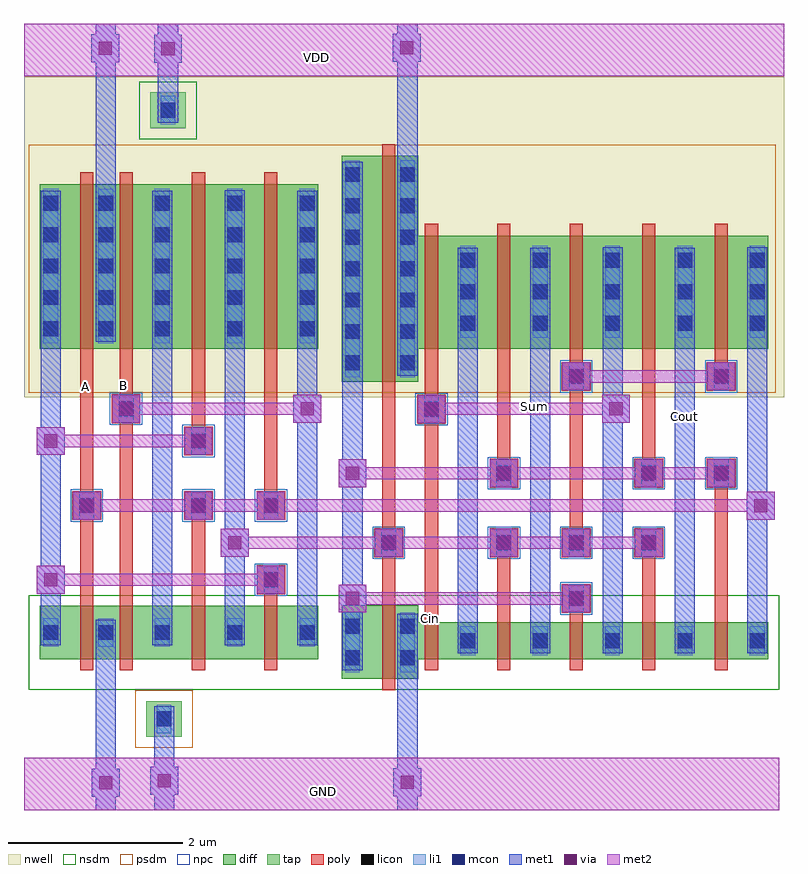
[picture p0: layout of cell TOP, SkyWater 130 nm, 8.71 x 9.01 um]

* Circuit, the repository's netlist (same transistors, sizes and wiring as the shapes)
** sch_path: /home/dat02/projects/cmos-full-adder-sky130/transmission_gate/schematic/fulladder.sch
.subckt fulladder A Sum B Cin VDD Cout GND
*.PININFO Cout:O A:I B:I Cin:I Sum:O VDD:I GND:I
XM1 Cout net4 A VDD sky130_fd_pr__pfet_01v8 L=0.15 W=1.295 nf=1
XM2 Cout net1 A GND sky130_fd_pr__nfet_01v8 L=0.15 W=0.42 nf=1
XM3 Cout net1 Cin VDD sky130_fd_pr__pfet_01v8 L=0.15 W=1.295 nf=1
XM4 Cout net4 Cin GND sky130_fd_pr__nfet_01v8 L=0.15 W=0.42 nf=1
XM7 net2 A VDD VDD sky130_fd_pr__pfet_01v8 L=0.15 W=1.885 nf=1
XM8 net2 A GND GND sky130_fd_pr__nfet_01v8 L=0.15 W=0.61 nf=1
XM9 net3 B VDD VDD sky130_fd_pr__pfet_01v8 L=0.15 W=1.885 nf=1
XM10 net3 B GND GND sky130_fd_pr__nfet_01v8 L=0.15 W=0.61 nf=1
XM11 net4 A B VDD sky130_fd_pr__pfet_01v8 L=0.15 W=1.885 nf=1
XM12 net4 net2 B GND sky130_fd_pr__nfet_01v8 L=0.15 W=0.61 nf=1
XM13 net4 net2 net3 VDD sky130_fd_pr__pfet_01v8 L=0.15 W=1.885 nf=1
XM14 net4 A net3 GND sky130_fd_pr__nfet_01v8 L=0.15 W=0.61 nf=1
XM15 net1 net4 VDD VDD sky130_fd_pr__pfet_01v8 L=0.15 W=2.59 nf=1
XM16 net1 net4 GND GND sky130_fd_pr__nfet_01v8 L=0.15 W=0.84 nf=1
XM17 net5 Cin VDD VDD sky130_fd_pr__pfet_01v8 L=0.15 W=1.295 nf=1
XM18 net5 Cin GND GND sky130_fd_pr__nfet_01v8 L=0.15 W=0.42 nf=1
XM19 Sum net4 Cin VDD sky130_fd_pr__pfet_01v8 L=0.15 W=1.295 nf=1
XM20 Sum net1 Cin GND sky130_fd_pr__nfet_01v8 L=0.15 W=0.42 nf=1
XM21 Sum net1 net5 VDD sky130_fd_pr__pfet_01v8 L=0.15 W=1.295 nf=1
XM22 Sum net4 net5 GND sky130_fd_pr__nfet_01v8 L=0.15 W=0.42 nf=1
.ends
.GLOBAL GND
.GLOBAL VDD

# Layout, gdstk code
import gdstk
lib = gdstk.Library(unit=1e-6, precision=5e-09)
def R(c, l, rs):  # rectangles x0, y0, x1, y1
    for r in rs: c.add(gdstk.rectangle(r[:2], r[2:], *l))
def A(c, l, x, y, w, h, nx, ny, dx, dy):  # array of equal rectangles
    R(c, l, [(x+i*dx, y+j*dy, x+i*dx+w, y+j*dy+h) for i in range(nx) for j in range(ny)])
nwell = (64, 20)
diff = (65, 20)
tap = (65, 44)
poly = (66, 20)
licon = (66, 44)
li1 = (67, 20)
mcon = (67, 44)
met1 = (68, 20)
via = (68, 44)
met2 = (69, 20)
nsdm = (93, 44)
psdm = (94, 20)
npc = (95, 20)

contact = lib.new_cell('Contact')
R(contact, met1, [(-0.16,-0.16,0.16,0.16)])
R(contact, via, [(-0.075,-0.075,0.075,0.075)])
R(contact, met2, [(-0.16,-0.16,0.16,0.16)])

contact_1 = lib.new_cell('Contact$1')
R(contact_1, poly, [(-0.165,-0.165,0.165,0.165)])
R(contact_1, licon, [(-0.085,-0.085,0.085,0.085)])
R(contact_1, li1, [(-0.085,-0.165,0.085,0.165)])
R(contact_1, npc, [(-0.185,-0.185,0.185,0.185)])

contact_2 = lib.new_cell('Contact$2')
R(contact_2, li1, [(-0.085,-0.085,0.085,0.085)])
R(contact_2, mcon, [(-0.085,-0.085,0.085,0.085)])
R(contact_2, met1, [(-0.145,-0.145,0.145,0.145)])

contact_4 = lib.new_cell('Contact$4')
R(contact_4, tap, [(-0.205,-0.205,0.205,0.205)])
R(contact_4, licon, [(-0.085,-0.085,0.085,0.085)])
R(contact_4, li1, [(-0.085,-0.165,0.085,0.165)])
R(contact_4, psdm, [(-0.33,-0.33,0.33,0.33)])

contact_3 = lib.new_cell('Contact$3')
R(contact_3, nwell, [(-0.385,-0.385,0.385,0.385)])
R(contact_3, tap, [(-0.205,-0.205,0.205,0.205)])
R(contact_3, licon, [(-0.085,-0.085,0.085,0.085)])
R(contact_3, li1, [(-0.085,-0.165,0.085,0.165)])
R(contact_3, nsdm, [(-0.33,-0.33,0.33,0.33)])

top = lib.new_cell('TOP')
R(top, nwell, [(-1.225,-1.25,7.485,2.425)])
R(top, diff, [(2.415,-4.475,3.295,-3.635), (-1.045,-4.25,2.145,-3.64), (2.83,-4.25,7.305,-3.83), (2.415,-1.07,3.295,1.52), (-1.045,-0.69,2.145,1.195), (3.225,-0.69,7.305,0.605)])
R(top, poly, [(2.88,-4.605,3.03,1.65), (-0.58,-4.38,-0.43,1.33), (-0.13,-4.38,0.02,1.33), (0.7,-4.38,0.85,-2.42), (1.53,-4.38,1.68,-3.27), (3.37,-4.38,3.52,0.74), (4.2,-4.38,4.35,-2.845), (5.03,-4.38,5.18,-3.51), (5.86,-4.38,6.01,-2.845), (6.69,-4.38,6.84,-2.05), (5.03,-2.985,5.18,0.74), (1.53,-2.56,1.68,1.33), (4.2,-2.19,4.35,0.74), (5.86,-2.19,6.01,0.74), (0.7,-1.82,0.85,1.33), (6.69,-1.08,6.84,0.74)])
A(top, licon, 0.275, -4.03, 0.17, 0.17, 3, 2, 0.83, 3.48)
A(top, licon, 2.455, -0.94, 0.17, 0.17, 1, 7, 0, 0.36)
A(top, licon, 3.085, -0.94, 0.17, 0.17, 1, 7, 0, 0.36)
A(top, licon, -1.005, -0.55, 0.17, 0.17, 1, 5, 0, 0.36)
A(top, licon, -0.375, -0.55, 0.17, 0.17, 1, 5, 0, 0.36)
A(top, licon, 0.275, -0.19, 0.17, 0.17, 3, 4, 0.83, 0.36)
R(top, licon, [(2.455,-4.32,2.625,-4.15), (3.085,-4.32,3.255,-4.15), (3.775,-4.125,3.945,-3.955), (3.775,-4.125,3.945,-3.955), (4.605,-4.125,4.775,-3.955), (4.605,-4.125,4.775,-3.955), (5.435,-4.125,5.605,-3.955), (5.435,-4.125,5.605,-3.955), (6.265,-4.125,6.435,-3.955), (6.265,-4.125,6.435,-3.955), (7.095,-4.125,7.265,-3.955), (7.095,-4.125,7.265,-3.955), (-1.005,-4.03,-0.835,-3.86), (-0.375,-4.03,-0.205,-3.86), (2.455,-3.96,2.625,-3.79), (3.085,-3.96,3.255,-3.79), (3.775,-0.485,3.945,-0.315), (3.775,-0.485,3.945,-0.315), (4.605,-0.485,4.775,-0.315), (4.605,-0.485,4.775,-0.315), (5.435,-0.485,5.605,-0.315), (5.435,-0.485,5.605,-0.315), (6.265,-0.485,6.435,-0.315), (6.265,-0.485,6.435,-0.315), (7.095,-0.485,7.265,-0.315), (7.095,-0.485,7.265,-0.315), (3.775,-0.125,3.945,0.045), (3.775,-0.125,3.945,0.045), (4.605,-0.125,4.775,0.045), (4.605,-0.125,4.775,0.045), (5.435,-0.125,5.605,0.045), (5.435,-0.125,5.605,0.045), (6.265,-0.125,6.435,0.045), (6.265,-0.125,6.435,0.045), (7.095,-0.125,7.265,0.045), (7.095,-0.125,7.265,0.045), (3.775,0.235,3.945,0.405), (3.775,0.235,3.945,0.405), (4.605,0.235,4.775,0.405), (4.605,0.235,4.775,0.405), (5.435,0.235,5.605,0.405), (5.435,0.235,5.605,0.405), (6.265,0.235,6.435,0.405), (6.265,0.235,6.435,0.405), (7.095,0.235,7.265,0.405), (7.095,0.235,7.265,0.405)])
A(top, li1, 0.275, -4.11, 0.17, 0.33, 3, 1, 0.83, 0)
A(top, li1, 0.275, -0.63, 0.17, 1.77, 3, 1, 0.83, 0)
R(top, li1, [(2.455,-4.4,2.625,-3.71), (3.085,-4.4,3.255,-3.71), (3.775,-4.205,3.945,-3.875), (4.605,-4.205,4.775,-3.875), (4.605,-4.205,4.775,-3.875), (5.435,-4.205,5.605,-3.875), (5.435,-4.205,5.605,-3.875), (6.265,-4.205,6.435,-3.875), (6.265,-4.205,6.435,-3.875), (7.095,-4.205,7.265,-3.875), (7.095,-4.205,7.265,-3.875), (-1.005,-4.11,-0.835,-3.78), (-0.375,-4.11,-0.205,-3.78), (2.455,-1.02,2.625,1.47), (3.085,-1.02,3.255,1.47), (-1.005,-0.63,-0.835,1.14), (-0.375,-0.63,-0.205,1.14), (3.775,-0.565,3.945,0.485), (3.775,-0.565,3.945,0.485), (4.605,-0.565,4.775,0.485), (4.605,-0.565,4.775,0.485), (5.435,-0.565,5.605,0.485), (5.435,-0.565,5.605,0.485), (6.265,-0.565,6.435,0.485), (6.265,-0.565,6.435,0.485), (7.095,-0.565,7.265,0.485), (7.095,-0.565,7.265,0.485)])
A(top, mcon, 0.275, -4.03, 0.17, 0.17, 3, 2, 0.83, 3.48)
A(top, mcon, 2.455, -0.94, 0.17, 0.17, 1, 7, 0, 0.36)
A(top, mcon, 3.085, -0.94, 0.17, 0.17, 1, 7, 0, 0.36)
A(top, mcon, -1.005, -0.55, 0.17, 0.17, 1, 5, 0, 0.36)
A(top, mcon, -0.375, -0.55, 0.17, 0.17, 1, 5, 0, 0.36)
A(top, mcon, 0.275, -0.19, 0.17, 0.17, 3, 4, 0.83, 0.36)
R(top, mcon, [(0.295,-5.02,0.465,-4.85), (2.455,-4.32,2.625,-4.15), (3.085,-4.32,3.255,-4.15), (3.775,-4.125,3.945,-3.955), (3.775,-4.125,3.945,-3.955), (4.605,-4.125,4.775,-3.955), (4.605,-4.125,4.775,-3.955), (5.435,-4.125,5.605,-3.955), (5.435,-4.125,5.605,-3.955), (6.265,-4.125,6.435,-3.955), (6.265,-4.125,6.435,-3.955), (7.095,-4.125,7.265,-3.955), (7.095,-4.125,7.265,-3.955), (-1.005,-4.03,-0.835,-3.86), (-0.375,-4.03,-0.205,-3.86), (2.455,-3.96,2.625,-3.79), (3.085,-3.96,3.255,-3.79), (3.775,-0.485,3.945,-0.315), (3.775,-0.485,3.945,-0.315), (4.605,-0.485,4.775,-0.315), (4.605,-0.485,4.775,-0.315), (5.435,-0.485,5.605,-0.315), (5.435,-0.485,5.605,-0.315), (6.265,-0.485,6.435,-0.315), (6.265,-0.485,6.435,-0.315), (7.095,-0.485,7.265,-0.315), (7.095,-0.485,7.265,-0.315), (3.775,-0.125,3.945,0.045), (3.775,-0.125,3.945,0.045), (4.605,-0.125,4.775,0.045), (4.605,-0.125,4.775,0.045), (5.435,-0.125,5.605,0.045), (5.435,-0.125,5.605,0.045), (6.265,-0.125,6.435,0.045), (6.265,-0.125,6.435,0.045), (7.095,-0.125,7.265,0.045), (7.095,-0.125,7.265,0.045), (3.775,0.235,3.945,0.405), (3.775,0.235,3.945,0.405), (4.605,0.235,4.775,0.405), (4.605,0.235,4.775,0.405), (5.435,0.235,5.605,0.405), (5.435,0.235,5.605,0.405), (6.265,0.235,6.435,0.405), (6.265,0.235,6.435,0.405), (7.095,0.235,7.265,0.405), (7.095,0.235,7.265,0.405), (0.34,1.955,0.51,2.125)])
A(top, met1, 4.575, -0.545, 0.23, 1.01, 4, 1, 0.83, 0)
R(top, met1, [(-0.405,-5.98,-0.175,-3.8), (0.265,-5.98,0.495,-4.79), (3.055,-5.98,3.285,-3.73), (2.425,-4.38,2.655,-3.87), (3.745,-4.185,3.975,-3.895), (4.575,-4.185,4.805,-0.42), (5.405,-4.185,5.635,-3.895), (6.235,-4.185,6.465,-3.895), (6.235,-4.185,6.465,-3.895), (7.065,-4.185,7.295,-3.895), (7.065,-4.185,7.295,-3.895), (-1.035,-4.09,-0.805,-1.935), (0.245,-4.09,0.475,-3.8), (1.075,-4.09,1.305,-1.055), (1.905,-4.09,2.135,-1.38), (2.425,-4.055,2.655,1.45), (3.745,-4.02,3.975,-0.38), (5.405,-4.02,5.635,-1.7), (6.235,-3.95,6.465,0.465), (7.065,-3.945,7.295,0.47), (0.245,-3.81,0.475,1.12), (5.405,-2.34,5.635,0.47), (-1.035,-2.075,-0.805,-0.49), (1.905,-1.45,2.135,-0.35), (1.075,-1.08,1.305,1.125), (3.055,-1,3.285,3.03), (-1.035,-0.61,-0.805,1.12), (-0.405,-0.61,-0.175,3.03), (1.905,-0.61,2.135,1.12), (3.745,-0.545,3.975,0.465), (3.745,-0.545,3.975,0.465), (4.575,-0.545,4.805,0.465), (0.31,1.895,0.54,3.03)])
R(top, met2, [(-1.225,-5.98,7.43,-5.38), (2.425,-3.625,5.14,-3.485), (-1.035,-3.41,1.68,-3.27), (1.075,-2.985,6.01,-2.845), (-0.58,-2.56,7.255,-2.42), (2.425,-2.19,6.8,-2.05), (-1.035,-1.82,0.85,-1.68), (-0.13,-1.45,2.145,-1.31), (3.37,-1.45,5.635,-1.31), (5.03,-1.08,6.84,-0.94), (-1.225,2.43,7.485,3.03)])
R(top, nsdm, [(-1.17,-4.6,7.43,-3.515)])
R(top, psdm, [(-1.17,-1.195,7.39,1.645)])
top.add(gdstk.Reference(contact, (-0.92,-1.75)))
top.add(gdstk.Reference(contact, (-0.055,-1.38)))
top.add(gdstk.Reference(contact_1, (-0.055,-1.38)))
top.add(gdstk.Reference(contact_2, (-0.055,-1.38)))
top.add(gdstk.Reference(contact, (2.02,-1.38)))
top.add(gdstk.Reference(contact_2, (0.775,-1.75)))
top.add(gdstk.Reference(contact_1, (0.775,-1.75)))
top.add(gdstk.Reference(contact, (0.775,-1.75)))
top.add(gdstk.Reference(contact, (-0.295,2.75)))
top.add(gdstk.Reference(contact, (0.425,2.745)))
top.add(gdstk.Reference(contact, (-0.92,-3.34)))
top.add(gdstk.Reference(contact, (1.605,-3.34)))
top.add(gdstk.Reference(contact_1, (1.605,-3.34)))
top.add(gdstk.Reference(contact_2, (1.605,-3.34)))
top.add(gdstk.Reference(contact_2, (0.775,-2.49)))
top.add(gdstk.Reference(contact_1, (0.775,-2.49)))
top.add(gdstk.Reference(contact, (0.775,-2.49)))
top.add(gdstk.Reference(contact, (-0.29,-5.665)))
top.add(gdstk.Reference(contact, (0.38,-5.645)))
top.add(gdstk.Reference(contact_4, (0.38,-4.935)))
top.add(gdstk.Reference(contact_2, (1.605,-2.49)))
top.add(gdstk.Reference(contact_1, (1.605,-2.49)))
top.add(gdstk.Reference(contact, (1.605,-2.49)))
top.add(gdstk.Reference(contact, (-0.505,-2.49)))
top.add(gdstk.Reference(contact_1, (-0.505,-2.49)))
top.add(gdstk.Reference(contact_2, (-0.505,-2.49)))
top.add(gdstk.Reference(contact, (1.19,-2.915)))
top.add(gdstk.Reference(contact, (5.935,-2.12)))
top.add(gdstk.Reference(contact_1, (5.935,-2.12)))
top.add(gdstk.Reference(contact_2, (5.935,-2.12)))
top.add(gdstk.Reference(contact, (5.56,-1.38)))
top.add(gdstk.Reference(contact, (3.445,-1.385)))
top.add(gdstk.Reference(contact_1, (3.445,-1.385)))
top.add(gdstk.Reference(contact_2, (3.445,-1.385)))
top.add(gdstk.Reference(contact, (4.275,-2.12)))
top.add(gdstk.Reference(contact_1, (4.275,-2.12)))
top.add(gdstk.Reference(contact_2, (4.275,-2.12)))
top.add(gdstk.Reference(contact, (3.16,2.755)))
top.add(gdstk.Reference(contact, (6.765,-2.12)))
top.add(gdstk.Reference(contact_1, (6.765,-2.12)))
top.add(gdstk.Reference(contact_2, (6.765,-2.12)))
top.add(gdstk.Reference(contact, (7.22,-2.49)))
top.add(gdstk.Reference(contact, (3.165,-5.66)))
top.add(gdstk.Reference(contact, (5.105,-2.915)))
top.add(gdstk.Reference(contact_1, (5.105,-2.915)))
top.add(gdstk.Reference(contact_2, (5.105,-2.915)))
top.add(gdstk.Reference(contact_1, (2.955,-2.915)))
top.add(gdstk.Reference(contact, (2.955,-2.915)))
top.add(gdstk.Reference(contact_2, (2.955,-2.915)))
top.add(gdstk.Reference(contact, (4.275,-2.915)))
top.add(gdstk.Reference(contact_1, (4.275,-2.915)))
top.add(gdstk.Reference(contact_2, (4.275,-2.915)))
top.add(gdstk.Reference(contact, (5.935,-2.915)))
top.add(gdstk.Reference(contact_1, (5.935,-2.915)))
top.add(gdstk.Reference(contact_2, (5.935,-2.915)))
top.add(gdstk.Reference(contact, (5.105,-1.01)))
top.add(gdstk.Reference(contact_1, (5.105,-1.01)))
top.add(gdstk.Reference(contact_2, (5.105,-1.01)))
top.add(gdstk.Reference(contact, (6.765,-1.01)))
top.add(gdstk.Reference(contact_1, (6.765,-1.01)))
top.add(gdstk.Reference(contact_2, (6.765,-1.01)))
top.add(gdstk.Reference(contact, (5.105,-3.555)))
top.add(gdstk.Reference(contact_1, (5.105,-3.555)))
top.add(gdstk.Reference(contact_2, (5.105,-3.555)))
top.add(gdstk.Reference(contact, (2.54,-3.555)))
top.add(gdstk.Reference(contact, (2.54,-2.12)))
top.add(gdstk.Reference(contact_3, (0.425,2.04)))
top.add(gdstk.Label('Cin', (3.435,-3.78), layer=66, texttype=16))
top.add(gdstk.Label('A', (-0.515,-1.13), layer=66, texttype=16))
top.add(gdstk.Label('B', (-0.08,-1.11), layer=66, texttype=16))
top.add(gdstk.Label('Sum', (4.62,-1.355), layer=68, texttype=16))
top.add(gdstk.Label('Cout', (6.34,-1.465), layer=68, texttype=16))
top.add(gdstk.Label('GND', (2.205,-5.77), layer=69, texttype=16))
top.add(gdstk.Label('VDD', (2.13,2.645), layer=69, texttype=16))

lib.write_gds('TOP.gds')
